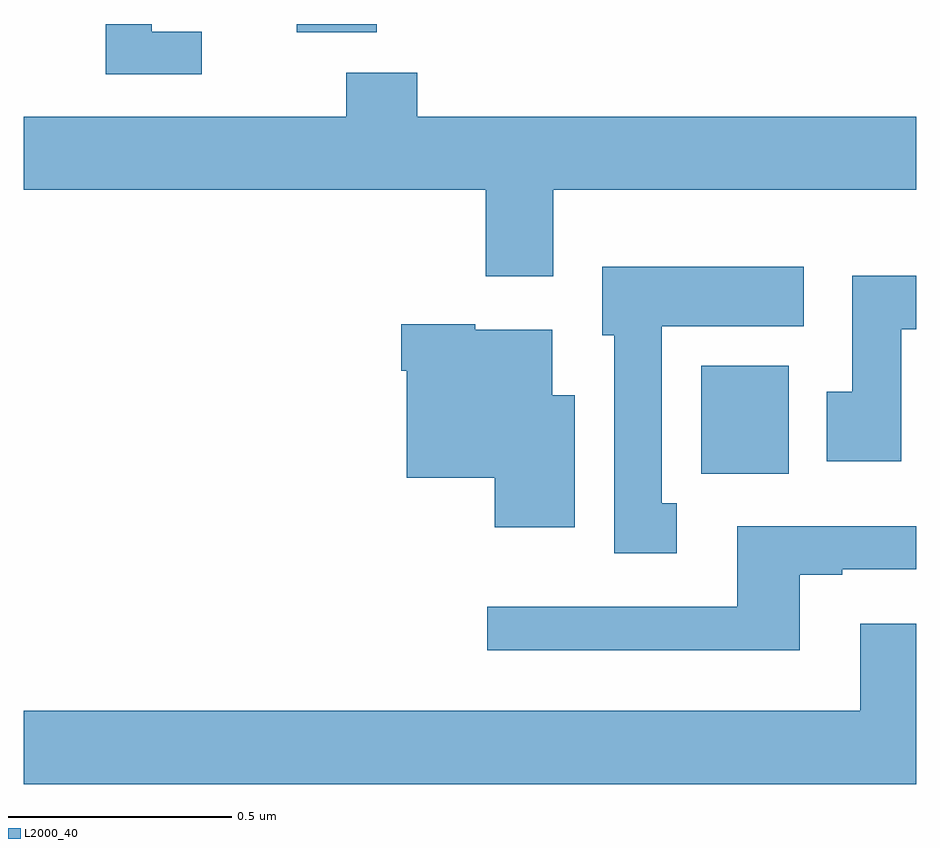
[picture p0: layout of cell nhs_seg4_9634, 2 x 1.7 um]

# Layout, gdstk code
import gdstk
lib = gdstk.Library(unit=1e-6, precision=1e-09)
def R(c, l, rs):  # rectangles x0, y0, x1, y1
    for r in rs: c.add(gdstk.rectangle(r[:2], r[2:], *l))
def P(c, l, *ps):  # polygons
    for p in ps: c.add(gdstk.Polygon(p, *l))
L2000_40 = (2000, 40)

nhs_seg4_9634 = lib.new_cell('nhs_seg4_9634')
R(nhs_seg4_9634, L2000_40, [(231.518,754.892,231.715,755.134), (230.612,755.882,230.791,755.9)])
P(nhs_seg4_9634, L2000_40, [(230.398,755.883),(230.287,755.883),(230.287,755.9),(230.183,755.9),(230.183,755.787),(230.398,755.787)],
  [(231.187,755.528),(232,755.528),(232,755.692),(230.882,755.692),(230.882,755.791),(230.722,755.791),(230.722,755.692),(230,755.692),(230,755.528),(231.035,755.528),(231.035,755.334),(231.187,755.334)],
  [(231.463,754.826),(231.43,754.826),(231.43,755.222),(231.748,755.222),(231.748,755.356),(231.296,755.356),(231.296,755.202),(231.323,755.202),(231.323,754.713),(231.463,754.713)],
  [(231.967,755.216),(232,755.216),(232,755.335),(231.857,755.335),(231.857,755.076),(231.8,755.076),(231.8,754.92),(231.967,754.92)],
  [(231.235,755.068),(231.184,755.068),(231.184,755.215),(231.012,755.215),(231.012,755.227),(230.846,755.227),(230.846,755.123),(230.858,755.123),(230.858,754.883),(231.056,754.883),(231.056,754.772),(231.235,754.772)],
  [(231.739,754.665),(231.835,754.665),(231.835,754.677),(232,754.677),(232,754.774),(231.599,754.774),(231.599,754.593),(231.039,754.593),(231.039,754.496),(231.739,754.496)],
  [(232,754.555),(231.875,754.555),(231.875,754.36),(230,754.36),(230,754.196),(232,754.196)])

lib.write_gds('nhs_seg4_9634.gds')
